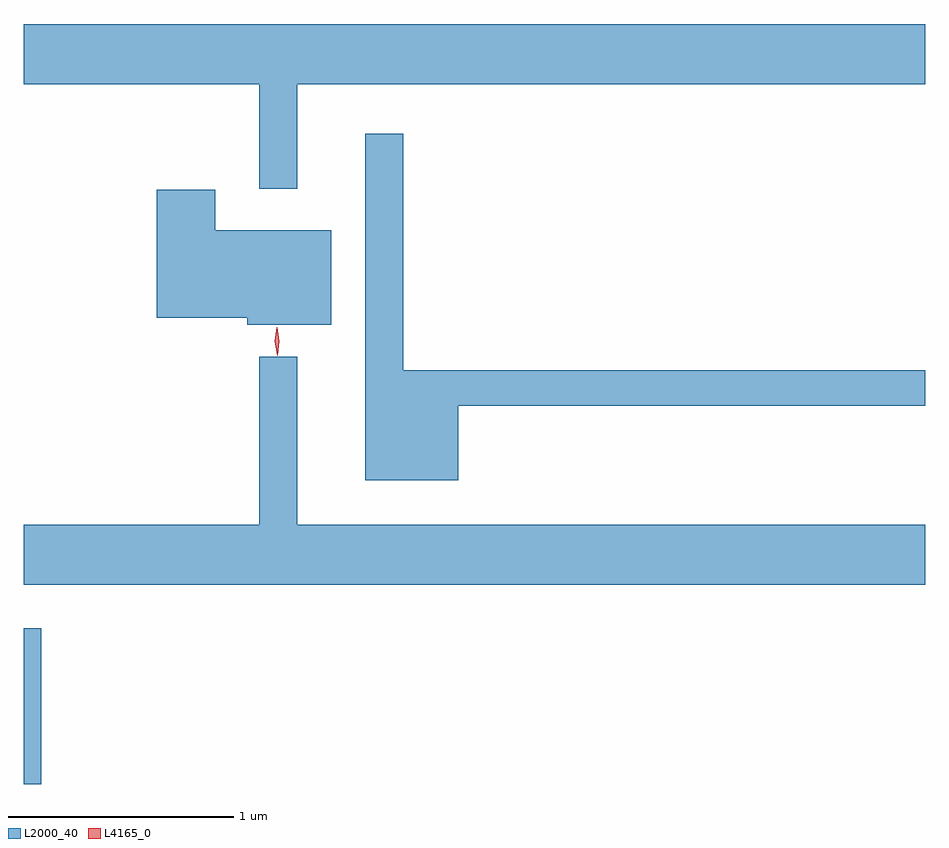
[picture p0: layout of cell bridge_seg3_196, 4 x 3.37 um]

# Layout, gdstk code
import gdstk
lib = gdstk.Library(unit=1e-6, precision=1e-09)
def R(c, l, rs):  # rectangles x0, y0, x1, y1
    for r in rs: c.add(gdstk.rectangle(r[:2], r[2:], *l))
def P(c, l, *ps):  # polygons
    for p in ps: c.add(gdstk.Polygon(p, *l))
L2000_40 = (2000, 40)
L4165_0 = (4165, 0)

bridge_seg3_196 = lib.new_cell('bridge_seg3_196')
R(bridge_seg3_196, L2000_40, [(1008.695,1171.753,1008.774,1172.444)])
P(bridge_seg3_196, L2000_40, [(1009.909,1174.856),(1012.695,1174.856),(1012.695,1175.124),(1008.695,1175.124),(1008.695,1174.856),(1009.741,1174.856),(1009.741,1174.393),(1009.909,1174.393)],
  [(1010.624,1173.431),(1012.695,1173.431),(1012.695,1173.589),(1010.379,1173.589),(1010.379,1174.638),(1010.211,1174.638),(1010.211,1173.101),(1010.624,1173.101)],
  [(1010.059,1174.209),(1009.544,1174.209),(1009.544,1174.389),(1009.286,1174.389),(1009.286,1173.821),(1009.686,1173.821),(1009.686,1173.791),(1010.059,1173.791)],
  [(1012.695,1172.904),(1009.909,1172.904),(1009.909,1173.648),(1009.741,1173.648),(1009.741,1172.904),(1008.695,1172.904),(1008.695,1172.636),(1012.695,1172.636)])
P(bridge_seg3_196, L4165_0, [(1009.822,1173.653),(1009.821,1173.654),(1009.81,1173.716),(1009.818,1173.778),(1009.818,1173.778),(1009.819,1173.778),(1009.83,1173.716),(1009.822,1173.654)])

lib.write_gds('bridge_seg3_196.gds')
